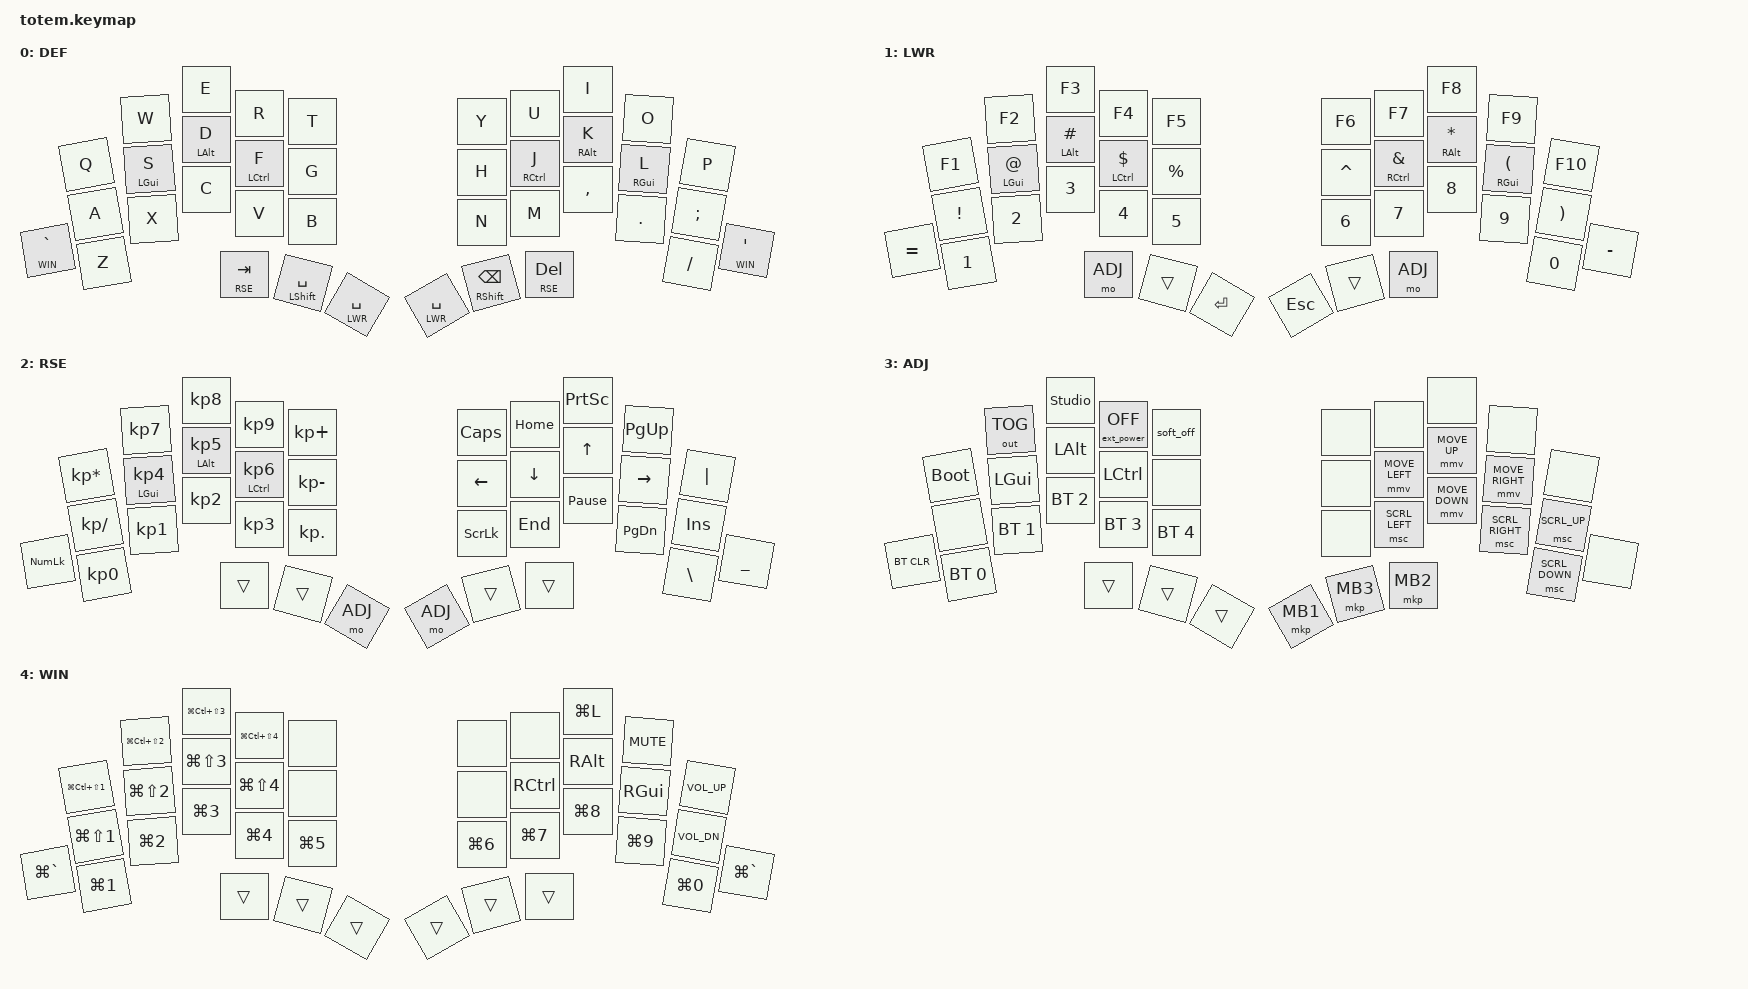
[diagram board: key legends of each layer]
/*
 * Copyright (c) 2020 The ZMK Contributors
 *
 * SPDX-License-Identifier: MIT
 */
//
//  ▀▀▀▀▀     ▀▀▀▀▀          ▀▀█▀▀
//  ▄▀▀▀▄  ▄  ▄▀▀▀▄  ▄  ▄▀▀▀▄  █  ▄▀▀▀▄
//  █   █  █  █   █  █  █   █  █  █   █
//   ▀▀▀   █   ▀▀▀   █   ▀▀▀   ▀   ▀▀▀
//         █      ▄▄▄█▄▄▄    █   █
//         ▀      █  █  █     █▄█
//       ▀▀▀▀▀    █  █  █      ▀
//                ▀  ▀  ▀
//

#define ZMK_POINTING_DEFAULT_MOVE_VAL 1500  // default: 600
#define ZMK_POINTING_DEFAULT_SCRL_VAL 20    // default: 10

#include <behaviors.dtsi>
#include <dt-bindings/zmk/behaviors.h>
#include <dt-bindings/zmk/bt.h>
#include <dt-bindings/zmk/ext_power.h>
#include <dt-bindings/zmk/keys.h>
#include <dt-bindings/zmk/outputs.h>
#include <dt-bindings/zmk/pointing.h>

#define DEF 0
#define LWR 1
#define RSE 2
#define ADJ 3
#define WIN 4

&lt {
    quick-tap-ms = <220>;
    tapping-term-ms = <280>;
    require-prior-idle-ms = <150>;
    flavor = "balanced";
};

&mt {
    quick-tap-ms = <220>;
    tapping-term-ms = <280>;
    require-prior-idle-ms = <150>;
    flavor = "balanced";
};

&mmv {
    time-to-max-speed-ms = <1000>;
};

&msc {
    time-to-max-speed-ms = <600>;
};

/ {
    behaviors {
        mt_h: mod_tap_home {
            compatible = "zmk,behavior-hold-tap";
            #binding-cells = <2>;
            flavor = "tap-preferred";
            tapping-term-ms = <170>;
            require-prior-idle-ms = <150>;
            quick-tap-ms = <300>;
            bindings = <&kp>, <&kp>;
            display-name = "Mod-Tap H";
        };
        lt_h: layer_tap_home {
            compatible = "zmk,behavior-hold-tap";
            #binding-cells = <2>;
            flavor = "tap-preferred";
            tapping-term-ms = <200>;
            require-prior-idle-ms = <150>;
            quick-tap-ms = <300>;
            bindings = <&mo>, <&kp>;
            display-name = "Layer-Tap H";
        };
    };

    combos {
        compatible = "zmk,combos";
// COMMON
//       ┏━━━━━━┳━━━━━━┳━━━━━━┳━━━━━━┳━━━━━━┓   ┏━━━━━━┳━━━━━━┳━━━━━━┳━━━━━━┳━━━━━━┓
//       ┃      ┃      ┃    (ESC)    ┃      ┃   ┃      ┃    (ESC)    ┃      ┃      ┃
//┏━━━━━━┫      ┃      ┃      ┃      ┃      ┃   ┃      ┃      ┃      ┃      ┃      ┣━━━━━━┓
//┃      ┃      ┃      ┃   (ENTER)   ┃      ┃   ┃      ┃   (ENTER)   ┃      ┃      ┃      ┃
//┗━━━━━━┻━━━━━━┻━━━━━━┫      ┃      ┃      ┃   ┃      ┃      ┃      ┣━━━━━━┻━━━━━━┻━━━━━━┛
//                     ┗━━━━━━┻━━━━━━┻━━━━━━┛   ┗━━━━━━┻━━━━━━┻━━━━━━┛
        combo_esc_left {
            timeout-ms = <50>;
            key-positions = <2 3>;
            bindings = <&kp ESC>;
        };
        combo_esc_right {
            timeout-ms = <50>;
            key-positions = <6 7>;
            bindings = <&kp ESC>;
        };
        combo_ret_left {
            timeout-ms = <50>;
            key-positions = <23 24>;
            bindings = <&kp RET>;
        };
        combo_ret_right {
            timeout-ms = <50>;
            key-positions = <27 28>;
            bindings = <&kp RET>;
        };
// DEFAULT
//       ┏━━━━━━┳━━━━━━┳━━━━━━┳━━━━━━┳━━━━━━┓   ┏━━━━━━┳━━━━━━┳━━━━━━┳━━━━━━┳━━━━━━┓
//       ┃      ┃      ┃      ┃      ┃      ┃   ┃      ┃      ┃     ([)    (])     ┃
//┏━━━━━━┫      ┃      ┃      ┃      ┃      ┃   ┃      ┃      ┃      ┃      ┃      ┣━━━━━━┓
//┃      ┃      ┃      ┃      ┃      ┃      ┃   ┃      ┃      ┃      ┃     (\)     ┃      ┃
//┗━━━━━━┻━━━━━━┻━━━━━━┫      ┃      ┃      ┃   ┃      ┃      ┃      ┣━━━━━━┻━━━━━━┻━━━━━━┛
//                     ┗━━━━━━┻━━━━━━┻━━━━━━┛   ┗━━━━━━┻━━━━━━┻━━━━━━┛
        combo_lbkt {
            timeout-ms = <50>;
            key-positions = <7 8>;
            layers = <DEF>;
            bindings = <&kp LBKT>;
        };
        combo_rbkt {
            timeout-ms = <50>;
            key-positions = <8 9>;
            layers = <DEF>;
            bindings = <&kp RBKT>;
        };
        combo_bslh {
            timeout-ms = <50>;
            key-positions = <29 30>;
            layers = <DEF>;
            bindings = <&kp BSLH>;
        };
// LOWER
//       ┏━━━━━━┳━━━━━━┳━━━━━━┳━━━━━━┳━━━━━━┓   ┏━━━━━━┳━━━━━━┳━━━━━━┳━━━━━━┳━━━━━━┓
//       ┃      ┃      ┃      ┃      ┃      ┃   ┃      ┃      ┃    (F11)  (F12)    ┃
//┏━━━━━━┫      ┃      ┃      ┃      ┃      ┃   ┃      ┃      ┃      ┃      ┃      ┣━━━━━━┓
//┃      ┃      ┃      ┃      ┃      ┃      ┃   ┃      ┃      ┃      ┃      ┃      ┃      ┃
//┗━━━━━━┻━━━━━━┻━━━━━━┫      ┃      ┃      ┃   ┃      ┃      ┃      ┣━━━━━━┻━━━━━━┻━━━━━━┛
//                     ┗━━━━━━┻━━━━━━┻━━━━━━┛   ┗━━━━━━┻━━━━━━┻━━━━━━┛
        combo_f11 {
            timeout-ms = <50>;
            key-positions = <7 8>;
            layers = <LWR>;
            bindings = <&kp F11>;
        };
        combo_f12 {
            timeout-ms = <50>;
            key-positions = <8 9>;
            layers = <LWR>;
            bindings = <&kp F12>;
        };
    };

    keymap {
        compatible = "zmk,keymap";

        default_layer {
            label= "DEF";
//       ┏━━━━━━┳━━━━━━┳━━━━━━┳━━━━━━┳━━━━━━┓   ┏━━━━━━┳━━━━━━┳━━━━━━┳━━━━━━┳━━━━━━┓
//       ┃   Q  ┃   W  ┃   E  ┃   R  ┃   T  ┃   ┃   Y  ┃   U  ┃   I  ┃   O  ┃   P  ┃
//┏━━━━━━┫   A  ┃LGUI/S┃LALT/D┃CTRL/F┃   G  ┃   ┃   H  ┃CTRL/J┃RALT/K┃RGUI/L┃   ;  ┣━━━━━━┓
//┃   `  ┃   Z  ┃   X  ┃   C  ┃   V  ┃   B  ┃   ┃   N  ┃   M  ┃   ,  ┃   .  ┃   /  ┃   '  ┃
//┗━━━━━━┻━━━━━━┻━━━━━━┫  TAB ┃  SPC ┃  SPC ┃   ┃  SPC ┃ BKSP ┃  DEL ┣━━━━━━┻━━━━━━┻━━━━━━┛
//                     ┗━━━━━━┻━━━━━━┻━━━━━━┛   ┗━━━━━━┻━━━━━━┻━━━━━━┛

            bindings = <

                &kp Q &kp W &kp E &kp R &kp T   &kp Y &kp U &kp I &kp O &kp P
                &kp A &mt_h LGUI S &mt_h LALT D &mt_h LCTRL F &kp G   &kp H &mt_h RCTRL J &mt_h RALT K &mt_h RGUI L &kp SEMI
                &lt WIN GRAVE &kp Z &kp X &kp C &kp V &kp B   &kp N &kp M &kp COMMA &kp DOT &kp FSLH &lt WIN SQT
                &lt RSE TAB &mt LSHFT SPACE &lt LWR SPACE   &lt LWR SPACE &mt RSHFT BSPC &lt RSE DEL
            >;
        };

        lower_layer {
            label= "LWR";
//       ┏━━━━━━┳━━━━━━┳━━━━━━┳━━━━━━┳━━━━━━┓   ┏━━━━━━┳━━━━━━┳━━━━━━┳━━━━━━┳━━━━━━┓
//       ┃  F1  ┃  F2  ┃  F3  ┃  F4  ┃  F5  ┃   ┃  F6  ┃  F7  ┃  F8  ┃  F9  ┃  F10 ┃
//┏━━━━━━┫   !  ┃LGUI/@┃LALT/#┃CTRL/$┃   %  ┃   ┃   ˆ  ┃CTRL/&┃RALT/*┃RGUI/(┃   )  ┣━━━━━━┓
//┃   =  ┃   1  ┃   2  ┃   3  ┃   4  ┃   5  ┃   ┃   6  ┃   7  ┃   8  ┃   9  ┃   0  ┃   -  ┃
//┗━━━━━━┻━━━━━━┻━━━━━━┫  ADJ ┃ -//- ┃ ENTER┃   ┃  ESC ┃ -//- ┃  ADJ ┣━━━━━━┻━━━━━━┻━━━━━━┛
//                     ┗━━━━━━┻━━━━━━┻━━━━━━┛   ┗━━━━━━┻━━━━━━┻━━━━━━┛

            bindings = <

                &kp F1 &kp F2 &kp F3 &kp F4 &kp F5   &kp F6 &kp F7 &kp F8 &kp F9 &kp F10
                &kp EXCL &mt_h LGUI AT &mt_h LALT HASH &mt_h LCTRL DLLR &kp PRCNT   &kp CARET &mt_h RCTRL AMPS &mt_h RALT ASTRK &mt_h RGUI LPAR &kp RPAR
                &kp EQUAL &kp N1 &kp N2 &kp N3 &kp N4 &kp N5   &kp N6 &kp N7 &kp N8 &kp N9 &kp N0 &kp MINUS
                &mo ADJ &trans &kp RET   &kp ESC &trans &mo ADJ
            >;
        };

        raise_layer {
            label= "RSE";
//       ┏━━━━━━┳━━━━━━┳━━━━━━┳━━━━━━┳━━━━━━┓   ┏━━━━━━┳━━━━━━┳━━━━━━┳━━━━━━┳━━━━━━┓
//       ┃ KP * ┃ KP 7 ┃ KP 8 ┃ KP 9 ┃ KP + ┃   ┃ CAPS ┃ HOME ┃PRT SC┃ P UP ┃   |  ┃
//┏━━━━━━┫ KP / ┃LG/KP4┃LA/KP5┃LC/KP6┃ KP - ┃   ┃ LEFT ┃ DOWN ┃  UP  ┃ RIGHT┃INSERT┣━━━━━━┓
//┃NUMLCK┃ KP 0 ┃ KP 1 ┃ KP 2 ┃ KP 3 ┃ KP . ┃   ┃SCRLCK┃  END ┃ PAUSE┃P DOWN┃   \  ┃   _  ┃
//┗━━━━━━┻━━━━━━┻━━━━━━┫ -//- ┃ -//- ┃  ADJ ┃   ┃  ADJ ┃ -//- ┃ -//- ┣━━━━━━┻━━━━━━┻━━━━━━┛
//                     ┗━━━━━━┻━━━━━━┻━━━━━━┛   ┗━━━━━━┻━━━━━━┻━━━━━━┛

            bindings = <

                &kp KP_MULTIPLY &kp KP_N7 &kp KP_N8 &kp KP_N9 &kp KP_PLUS   &kp CAPS &kp HOME &kp PSCRN &kp PG_UP &kp PIPE
                &kp KP_DIVIDE &mt_h LGUI KP_N4 &mt_h LALT KP_N5 &mt_h LCTRL KP_N6 &kp KP_MINUS   &kp LEFT &kp DOWN &kp UP &kp RIGHT &kp INSERT
                &kp KP_NLCK &kp KP_N0 &kp KP_N1 &kp KP_N2 &kp KP_N3 &kp KP_DOT   &kp SLCK &kp END &kp PAUSE_BREAK &kp PG_DN &kp BSLH &kp UNDER
                &trans &trans &mo ADJ   &mo ADJ &trans &trans
            >;
        };

        adjust_layer {
            label= "ADJ";
//       ┏━━━━━━┳━━━━━━┳━━━━━━┳━━━━━━┳━━━━━━┓   ┏━━━━━━┳━━━━━━┳━━━━━━┳━━━━━━┳━━━━━━┓
//       ┃ BTLDR┃OUT TG┃ STUD ┃pwrOFF┃sftOFF┃   ┃      ┃      ┃      ┃      ┃      ┃
//┏━━━━━━┫      ┃ LGUI ┃ LALT ┃ LCTRL┃      ┃   ┃      ┃MS LFT┃ MS UP┃MS RGT┃MS W U┣━━━━━━┓
//┃BT CLR┃  BT0 ┃  BT1 ┃  BT2 ┃  BT3 ┃  BT4 ┃   ┃      ┃MS W L┃ MS DN┃MS W R┃MS W D┃      ┃
//┗━━━━━━┻━━━━━━┻━━━━━━┫ -//- ┃ -//- ┃ -//- ┃   ┃lftCLK┃mdlCLK┃rgtCLK┣━━━━━━┻━━━━━━┻━━━━━━┛
//                     ┗━━━━━━┻━━━━━━┻━━━━━━┛   ┗━━━━━━┻━━━━━━┻━━━━━━┛

            bindings = <

                &bootloader &out OUT_TOG &studio_unlock &ext_power EP_OFF &soft_off   &none &none &none &none &none
                &none &kp LGUI &kp LALT &kp LCTRL &none   &none &mmv MOVE_LEFT &mmv MOVE_UP &mmv MOVE_RIGHT &msc SCRL_UP
                &bt BT_CLR &bt BT_SEL 0 &bt BT_SEL 1 &bt BT_SEL 2 &bt BT_SEL 3 &bt BT_SEL 4   &none &msc SCRL_LEFT &mmv MOVE_DOWN &msc SCRL_RIGHT &msc SCRL_DOWN &none
                &trans &trans &trans   &mkp MB1 &mkp MB3 &mkp MB2
            >;
        };
        win_layer {
            label= "WIN";
//       ┏━━━━━━┳━━━━━━┳━━━━━━┳━━━━━━┳━━━━━━┓   ┏━━━━━━┳━━━━━━┳━━━━━━┳━━━━━━┳━━━━━━┓
//       ┃ GCS 1┃ GCS 2┃ GCS 3┃ GCS 4┃      ┃   ┃      ┃      ┃ GUI L┃ MUTE ┃VOL UP┃
// ┏━━━━━┫ GS 1 ┃ GS 2 ┃ GS 3 ┃ GS 4 ┃      ┃   ┃      ┃ RCTRL┃ RALT ┃ RGUI ┃VOL DN┣━━━━━━┓
// ┃GUI `┃ GUI 1┃ GUI 2┃ GUI 3┃ GUI 4┃ GUI 5┃   ┃ GUI 6┃ GUI 7┃ GUI 8┃ GUI 9┃ GUI 0┃ GUI `┃
// ┗━━━━━┻━━━━━━┻━━━━━━┫ -//- ┃ -//- ┃ -//- ┃   ┃ -//- ┃ -//- ┃ -//- ┣━━━━━━┻━━━━━━┻━━━━━━┛
//                     ┗━━━━━━┻━━━━━━┻━━━━━━┛   ┗━━━━━━┻━━━━━━┻━━━━━━┛

            bindings = <

                &kp LG(LC(LS(N1))) &kp LG(LC(LS(N2))) &kp LG(LC(LS(N3))) &kp LG(LC(LS(N4))) &none   &none &none &kp LG(L) &kp K_MUTE &kp K_VOL_UP
                &kp LG(LS(N1)) &kp LG(LS(N2)) &kp LG(LS(N3)) &kp LG(LS(N4)) &none   &none &kp RCTRL &kp RALT &kp RGUI &kp K_VOL_DN
                &kp LG(GRAVE) &kp LG(N1) &kp LG(N2) &kp LG(N3) &kp LG(N4) &kp LG(N5)   &kp LG(N6) &kp LG(N7) &kp LG(N8) &kp LG(N9) &kp LG(N0) &kp LG(GRAVE)
                &trans &trans &trans   &trans &trans &trans
            >;
        };
    };
};
